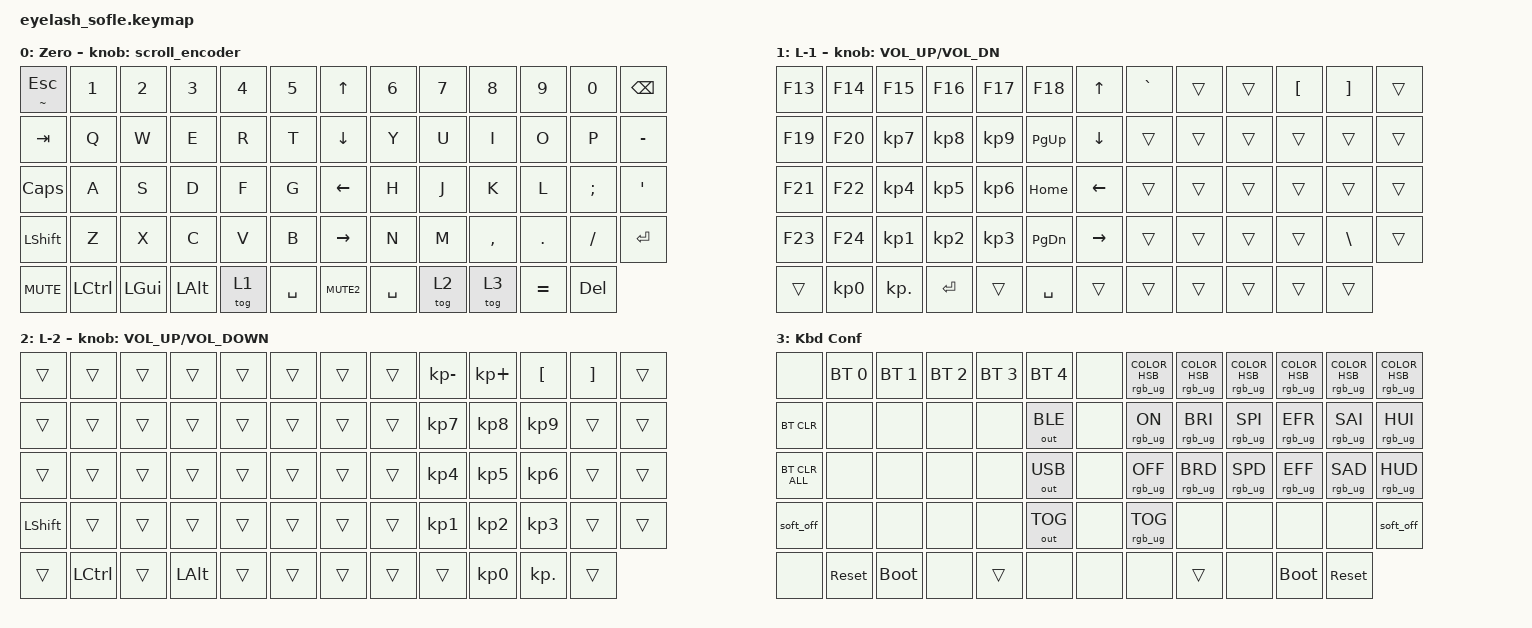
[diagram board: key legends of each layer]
#define ZMK_POINTING_DEFAULT_MOVE_VAL 700  // 600
#define ZMK_POINTING_DEFAULT_SCRL_VAL 15    // 10

#include <input/processors.dtsi>
#include <zephyr/dt-bindings/input/input-event-codes.h>
#include <behaviors.dtsi>
#include <dt-bindings/zmk/bt.h>
#include <dt-bindings/zmk/keys.h>
#include <dt-bindings/zmk/outputs.h>
#include <dt-bindings/zmk/pointing.h>
#include <dt-bindings/zmk/rgb.h>

/ {
    zip_scroll_scaler: zip_scroll_scaler {
        compatible = "zmk,input-processor-scaler";
        #input-processor-cells = <2>;
        type = <INPUT_EV_REL>;
        codes = <INPUT_REL_WHEEL INPUT_REL_HWHEEL>;
        track-remainders;
    };
};

&mmv_input_listener { input-processors = <&zip_xy_scaler 2 1>; };

&msc_input_listener { input-processors = <&zip_scroll_scaler 2 1>; };

&mmv {
    acceleration-exponent = <1>;
    time-to-max-speed-ms = <600>;
};

&msc {
    acceleration-exponent = <0>;      // 0
    time-to-max-speed-ms = <300>;     // 300
    delay-ms = <0>;                   // 0
};

/ {
    scroll_encoder: scroll_encoder {
        compatible = "zmk,behavior-sensor-rotate";
        #sensor-binding-cells = <0>;
        bindings = <&msc SCRL_DOWN>, <&msc SCRL_UP>;

        tap-ms = <100>;
    };

    new_behavior: new_behavior {
        compatible = "zmk,behavior-hold-tap";
        label = "NEW_BEHAVIOR";
        bindings = <&kp>, <&kp>;

        #binding-cells = <2>;
        tapping-term-ms = <200>;
        hold-trigger-key-positions = <0>;
    };

    macros {
        shift_MB3: shift_MB3 {
            compatible = "zmk,behavior-macro";
            #binding-cells = <0>;
            bindings =
                <&macro_press>,
                <&kp LEFT_SHIFT>,
                <&macro_press>,
                <&mkp MB3>,
                <&macro_pause_for_release>,
                <&macro_release>,
                <&mkp MB3 &kp LEFT_SHIFT>;

            label = "SHIFT_MB3";
        };
    };

    conditional_layers {
        compatible = "zmk,conditional-layers";

        tri_layer {
            if-layers = <1 2>;
            then-layer = <3>;
        };
    };

    behaviors {
    };

    keymap {
        compatible = "zmk,keymap";

        layer0 {
            display-name = "Zero";
            bindings = <
&new_behavior TILDE ESCAPE  &kp N1     &kp N2    &kp N3        &kp N4  &kp N5       &kp UP       &kp N6     &kp N7  &kp N8     &kp N9     &kp N0    &kp BSPC
&kp TAB                     &kp Q      &kp W     &kp E         &kp R   &kp T        &kp DOWN     &kp Y      &kp U   &kp I      &kp O      &kp P     &kp MINUS
&kp CAPS                    &kp A      &kp S     &kp D         &kp F   &kp G        &kp LEFT     &kp H      &kp J   &kp K      &kp L      &kp SEMI  &kp SQT
&kp LSHFT                   &kp Z      &kp X     &kp C         &kp V   &kp B        &kp RIGHT    &kp N      &kp M   &kp COMMA  &kp DOT    &kp FSLH  &kp RET
&kp K_MUTE                  &kp LCTRL  &kp LGUI  &kp LEFT_ALT  &tog 1  &kp SPACE    &kp K_MUTE2  &kp SPACE  &tog 2  &tog 3     &kp EQUAL  &kp DEL
            >;

            sensor-bindings = <&scroll_encoder>;
        };

        layer_1 {
            display-name = "L-1";
            bindings = <
&kp F13  &kp F14    &kp F15          &kp F16    &kp F17          &kp F18          &kp UP_ARROW     &kp GRAVE  &trans  &trans  &kp LEFT_BRACKET  &kp RIGHT_BRACKET  &trans
&kp F19  &kp F20    &kp KP_NUMBER_7  &kp KP_N8  &kp KP_N9        &kp PAGE_UP      &kp DOWN         &trans     &trans  &trans  &trans            &trans             &trans
&kp F21  &kp F22    &kp KP_NUMBER_4  &kp KP_N5  &kp KP_NUMBER_6  &kp HOME         &kp LEFT_ARROW   &trans     &trans  &trans  &trans            &trans             &trans
&kp F23  &kp F24    &kp KP_NUMBER_1  &kp KP_N2  &kp KP_N3        &kp PAGE_DOWN    &kp RIGHT_ARROW  &trans     &trans  &trans  &trans            &kp BSLH           &trans
&trans   &kp KP_N0  &kp KP_DOT       &kp RET    &trans           &kp SPACE        &trans           &trans     &trans  &trans  &trans            &trans
            >;

            sensor-bindings = <&inc_dec_kp C_VOLUME_UP C_VOL_DN>;
        };

        layer_2 {
            display-name = "L-2";
            bindings = <
&trans          &trans     &trans  &trans        &trans  &trans    &trans  &trans  &kp KP_MINUS     &kp KP_PLUS  &kp LEFT_BRACKET  &kp RIGHT_BRACKET  &trans
&trans          &trans     &trans  &trans        &trans  &trans    &trans  &trans  &kp KP_N7        &kp KP_N8    &kp KP_N9         &trans             &trans
&trans          &trans     &trans  &trans        &trans  &trans    &trans  &trans  &kp KP_N4        &kp KP_N5    &kp KP_N6         &trans             &trans
&kp LEFT_SHIFT  &trans     &trans  &trans        &trans  &trans    &trans  &trans  &kp KP_NUMBER_1  &kp KP_N2    &kp KP_NUMBER_3   &trans             &trans
&trans          &kp LCTRL  &trans  &kp LEFT_ALT  &trans  &trans    &trans  &trans  &trans           &kp KP_N0    &kp KP_DOT        &trans
            >;

            sensor-bindings = <&inc_dec_kp C_VOLUME_UP C_VOLUME_DOWN>;
        };

        layer_3 {
            display-name = "Kbd Conf";
            bindings = <
&none           &bt BT_SEL 0  &bt BT_SEL 1  &bt BT_SEL 2  &bt BT_SEL 3  &bt BT_SEL 4    &none  &rgb_ug RGB_COLOR_HSB(0,100,50)  &rgb_ug RGB_COLOR_HSB(29,100,50)  &rgb_ug RGB_COLOR_HSB(59,100,50)  &rgb_ug RGB_COLOR_HSB(118,100,50)  &rgb_ug RGB_COLOR_HSB(232,100,50)  &rgb_ug RGB_COLOR_HSB(272,100,50)
&bt BT_CLR      &none         &none         &none         &none         &out OUT_BLE    &none  &rgb_ug RGB_ON                   &rgb_ug RGB_BRI                   &rgb_ug RGB_SPI                   &rgb_ug RGB_EFR                    &rgb_ug RGB_SAI                    &rgb_ug RGB_HUI
&bt BT_CLR_ALL  &none         &none         &none         &none         &out OUT_USB    &none  &rgb_ug RGB_OFF                  &rgb_ug RGB_BRD                   &rgb_ug RGB_SPD                   &rgb_ug RGB_EFF                    &rgb_ug RGB_SAD                    &rgb_ug RGB_HUD
&soft_off       &none         &none         &none         &none         &out OUT_TOG    &none  &rgb_ug RGB_TOG                  &none                             &none                             &none                              &none                              &soft_off
&none           &sys_reset    &bootloader   &none         &trans        &none           &none  &none                            &trans                            &none                             &bootloader                        &sys_reset
            >;
        };
    };
};
